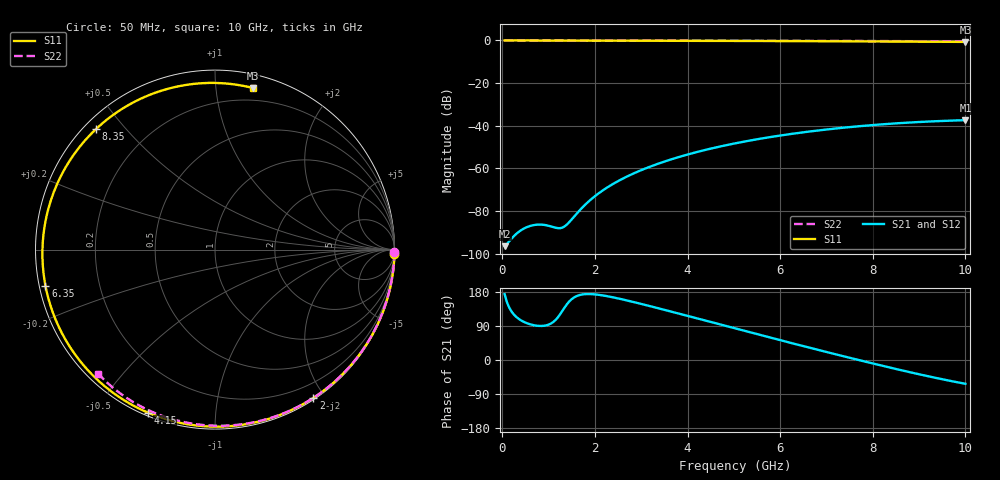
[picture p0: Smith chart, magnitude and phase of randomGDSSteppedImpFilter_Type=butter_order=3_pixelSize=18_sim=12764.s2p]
! freq	dB(S11)	phase(S11)	dB(S12)	phase(S12)
!  dB(S21)	phase(S21)	dB(S22)	phase(S22)
!S-par simulation data
#  GHz  S  DB  R 50
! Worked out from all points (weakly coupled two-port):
!   200 points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, 50 MHz to 10 GHz, reference 50 ohm
!   highest |S21| = -37.38 dB at 10 GHz (marker M1); lowest = -96.5 dB at 50 MHz (marker M2)
!   lowest |S11| = -0.7 dB at 10 GHz (marker M3), VSWR 25.62, Z = 5.04 + j62.8 ohm
!   |S11| at or under -10 dB: nowhere
!   |S22| runs from -0.4 to 0.0 dB; largest |S21 - S12| = 0
!   S11 on the Smith chart (normalised r, x): 50 MHz: 0, -79; 2 GHz: 0.02, -1.86; 4.15 GHz: 0.01, -0.67; 6.35 GHz: 0.02, -0.11; 8.35 GHz: 0.03, +0.42; 10 GHz: 0.10, +1.26
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0.05  -0.00 -1.4  -96.48 173.9  -96.48 173.9  -0.00 -0.8
0.8  -0.02 -23.0  -86.35 89.9  -86.35 89.9  -0.01 -12.3
1.65  -0.06 -46.9  -80.15 170.7  -80.15 170.7  -0.03 -25.1
1.75  -0.06 -49.6  -77.87 173.3  -77.87 173.3  -0.03 -26.5
2  -0.07 -56.5  -73.04 173.2  -73.04 173.2  -0.04 -30.3
2.3  -0.08 -64.6  -68.49 167.6  -68.49 167.6  -0.04 -34.7
2.6  -0.09 -72.6  -64.82 159.8  -64.82 159.8  -0.05 -39.1
2.95  -0.11 -81.8  -61.29 149.5  -61.29 149.5  -0.06 -44.1
3.4  -0.12 -93.4  -57.54 135.6  -57.54 135.6  -0.07 -50.5
4.15  -0.15 -112.4  -52.62 111.6  -52.62 111.6  -0.09 -61.0
5.05  -0.20 -134.9  -48.16 82.7  -48.16 82.7  -0.11 -73.1
5.7  -0.25 -151.3  -45.62 61.9  -45.62 61.9  -0.14 -81.6
6.35  -0.30 -168.0  -43.51 41.3  -43.51 41.3  -0.16 -89.9
6.7  -0.33 -177.3  -42.53 30.4  -42.53 30.4  -0.18 -94.3
7.15  -0.38 170.4  -41.41 16.5  -41.41 16.5  -0.21 -99.8
7.55  -0.42 159.0  -40.53 4.3  -40.53 4.3  -0.23 -104.6
7.95  -0.46 147.1  -39.77 -7.7  -39.77 -7.7  -0.26 -109.4
8.35  -0.50 134.6  -39.11 -19.4  -39.11 -19.4  -0.29 -114.2
8.8  -0.55 119.9  -38.49 -32.2  -38.49 -32.2  -0.33 -119.4
9.25  -0.60 104.3  -37.98 -44.4  -37.98 -44.4  -0.37 -124.7
9.65  -0.64 89.9  -37.63 -54.5  -37.63 -54.5  -0.41 -129.3
10  -0.68 76.9  -37.38 -62.8  -37.38 -62.8  -0.45 -133.4
